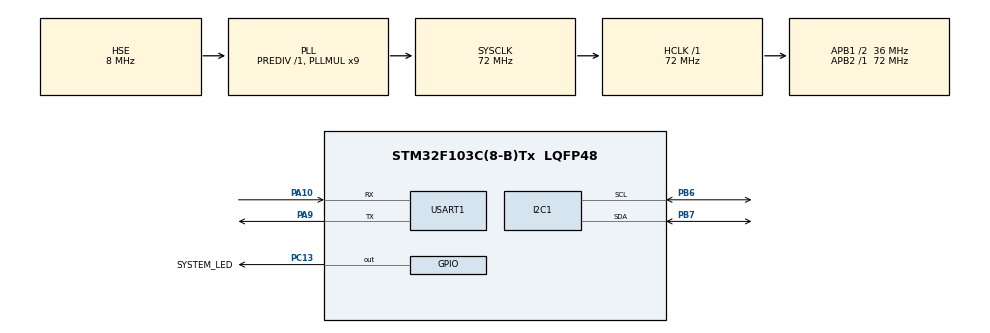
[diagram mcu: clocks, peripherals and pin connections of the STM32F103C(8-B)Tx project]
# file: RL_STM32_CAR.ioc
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Mcu.Family=STM32F1
Mcu.Name=STM32F103C(8-B)Tx
Mcu.Package=LQFP48
NVIC.PriorityGroup=NVIC_PRIORITYGROUP_4
NVIC.TIM2_IRQn=true\:0\:0\:false\:false\:true\:true\:true\:true
NVIC.USART1_IRQn=true\:0\:0\:false\:false\:true\:true\:true\:true
PA10.Mode=Asynchronous
PA10.Signal=USART1_RX
PA13.Mode=Serial_Wire
PA13.Signal=SYS_JTMS-SWDIO
PA14.Mode=Serial_Wire
PA14.Signal=SYS_JTCK-SWCLK
PA9.Mode=Asynchronous
PA9.Signal=USART1_TX
PB6.Mode=I2C
PB6.Signal=I2C1_SCL
PB7.Mode=I2C
PB7.Signal=I2C1_SDA
PC13-TAMPER-RTC.GPIO_Label=SYSTEM_LED
PC13-TAMPER-RTC.Signal=GPIO_Output
PD0-OSC_IN.Mode=HSE-External-Oscillator
PD0-OSC_IN.Signal=RCC_OSC_IN
PD1-OSC_OUT.Mode=HSE-External-Oscillator
PD1-OSC_OUT.Signal=RCC_OSC_OUT
ProjectManager.HeapSize=0x200
ProjectManager.StackSize=0x400
ProjectManager.TargetToolchain=STM32CubeIDE
RCC.AHBFreq_Value=72000000
RCC.APB1CLKDivider=RCC_HCLK_DIV2
RCC.APB1Freq_Value=36000000
RCC.APB1TimFreq_Value=72000000
RCC.APB2Freq_Value=72000000
RCC.APB2TimFreq_Value=72000000
RCC.HCLKFreq_Value=72000000
RCC.PLLMUL=RCC_PLL_MUL9
RCC.PLLSourceVirtual=RCC_PLLSOURCE_HSE
RCC.SYSCLKFreq_VALUE=72000000
RCC.SYSCLKSource=RCC_SYSCLKSOURCE_PLLCLK
RCC.USBFreq_Value=72000000
TIM2.Period=999
TIM2.Prescaler=71
USART1.VirtualMode=VM_ASYNC
VP_TIM2_VS_ClockSourceINT.Mode=Internal
board=custom

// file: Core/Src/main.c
/* USER CODE BEGIN Header */
/**
  ******************************************************************************
  * @file           : main.c
  * @brief          : Main program body
  ******************************************************************************
  * @attention
  *
  * Copyright (c) 2025 STMicroelectronics.
  * All rights reserved.
  *
  * This software is licensed under terms that can be found in the LICENSE file
  * in the root directory of this software component.
  * If no LICENSE file comes with this software, it is provided AS-IS.
  *
  ******************************************************************************
  */
/* USER CODE END Header */
#include "main.h"
#include "i2c.h"
#include "tim.h"
#include "usart.h"
#include "gpio.h"

/* USER CODE BEGIN Includes */
#include <stdio.h>
#include <string.h>
#include "Timer.h"
/* USER CODE END Includes */

/* USER CODE BEGIN PV */
// LCD Configuration - Found working address
#define LCD_I2C_ADDR 0x27

// Car Damage Detection System
extern timer_Objt Tim_1ms[MaxTIMER];
uint8_t lcd_initialized = 0;
uint32_t last_analysis_time = 0;
uint32_t analysis_interval = 15000; // Analysis every 15 seconds (slower)
uint8_t uart_rx_buffer[256];
uint8_t uart_rx_index = 0;
uint8_t uart_message_ready = 0;

// Damage detection results
typedef struct {
    char damage_type[32];
    float confidence;
    uint8_t severity;
    uint32_t timestamp;
    uint8_t valid;
} DamageResult_t;

DamageResult_t current_damage;
DamageResult_t last_valid_damage; // Keep last valid result for display
DamageResult_t last_damage_detected; // Keep last actual damage (not no_damage)
uint8_t system_status = 0; // 0=init, 1=ready, 2=analyzing, 3=error
uint32_t test_counter = 0; // Counter for test cycles display
uint8_t should_show_analyzing = 0; // Only show analyzing when actually requesting

// Damage detection optimization
uint32_t last_damage_timestamp = 0; // When was last damage detected
uint32_t damage_display_duration = 30000; // Show damage for 30 seconds
float min_confidence_threshold = 35.0; // Minimum confidence for damage detection
uint8_t consecutive_no_damage = 0; // Count consecutive no_damage results
uint8_t no_damage_threshold = 5; // Need 5 consecutive no_damage to override
/* USER CODE END PV */

void SystemClock_Config(void);
/* USER CODE BEGIN PFP */
// LCD Functions
void LCD_Send_Nibble(uint8_t nibble, uint8_t rs);
void LCD_Send_Byte(uint8_t byte, uint8_t rs);
void LCD_Init(void);
void LCD_Clear(void);
void LCD_SetCursor(uint8_t col, uint8_t row);
void LCD_Print(char* str);

// Car Damage Detection Functions
void CarDamage_Init(void);
void CarDamage_RequestAnalysis(void);
void CarDamage_ProcessUARTData(void);
void CarDamage_ParseResponse(char* json_response);
void CarDamage_DisplayResults(void);
void CarDamage_DisplayStatus(void);
void CarDamage_SendESP32Command(char* command);
void HAL_UART_RxCpltCallback(UART_HandleTypeDef *huart);
/* USER CODE END PFP */

int main(void)
{

  /* MCU Configuration--------------------------------------------------------*/

  /* Reset of all peripherals, Initializes the Flash interface and the Systick. */
  HAL_Init();

  /* Configure the system clock */
  SystemClock_Config();

  /* Initialize all configured peripherals */
  MX_GPIO_Init();
  MX_I2C1_Init();
  MX_TIM2_Init();
  MX_USART1_UART_Init();
  /* USER CODE BEGIN 2 */

  // Initialize timer system
  HAL_TIM_Base_Start_IT(&htim2);
  startTim(&Tim_1ms[0], 1000);

  // Power-on signal - 1 long blink
  HAL_GPIO_WritePin(SYSTEM_LED_GPIO_Port, SYSTEM_LED_Pin, GPIO_PIN_SET);
  HAL_Delay(1000);
  HAL_GPIO_WritePin(SYSTEM_LED_GPIO_Port, SYSTEM_LED_Pin, GPIO_PIN_RESET);
  HAL_Delay(500);

  // Wait for LCD power stabilization
  HAL_Delay(1000);

  // Initialize LCD with known working address
  if (HAL_I2C_IsDeviceReady(&hi2c1, LCD_I2C_ADDR << 1, 3, 1000) == HAL_OK) {
    LCD_Init();
    lcd_initialized = 1;

    // Success - 3 quick blinks
    for(int i = 0; i < 3; i++) {
      HAL_GPIO_WritePin(SYSTEM_LED_GPIO_Port, SYSTEM_LED_Pin, GPIO_PIN_SET);
      HAL_Delay(200);
      HAL_GPIO_WritePin(SYSTEM_LED_GPIO_Port, SYSTEM_LED_Pin, GPIO_PIN_RESET);
      HAL_Delay(200);
    }

    // Initialize Car Damage Detection System
    CarDamage_Init();

    // Start UART receive interrupt
    HAL_UART_Receive_IT(&huart1, &uart_rx_buffer[0], 1);

  } else {
    // Failed - 5 fast blinks
    for(int i = 0; i < 5; i++) {
      HAL_GPIO_WritePin(SYSTEM_LED_GPIO_Port, SYSTEM_LED_Pin, GPIO_PIN_SET);
      HAL_Delay(100);
      HAL_GPIO_WritePin(SYSTEM_LED_GPIO_Port, SYSTEM_LED_Pin, GPIO_PIN_RESET);
      HAL_Delay(100);
    }
    lcd_initialized = 0;
    system_status = 3; // Error
  }

  last_analysis_time = HAL_GetTick();
  /* USER CODE END 2 */

  /* Infinite loop */
  /* USER CODE BEGIN WHILE */
  while (1)
  {
    uint32_t current_time = HAL_GetTick();
    static uint32_t led_timer = 0;

    // Handle timer system
    scanTimer();

    if (lcd_initialized) {
      // Process UART data from ESP32
      CarDamage_ProcessUARTData();

      // LED patterns based on system status
      uint32_t blink_interval = 1000; // Default
      switch(system_status) {
        case 0: blink_interval = 500; break;  // Init - fast blink
        case 1: blink_interval = 2000; break; // Ready - slow blink
        case 2: blink_interval = 250; break;  // Analyzing - very fast
        case 3: blink_interval = 100; break;  // Error - ultra fast
      }

      if ((current_time - led_timer) >= blink_interval) {
        led_timer = current_time;
        HAL_GPIO_TogglePin(SYSTEM_LED_GPIO_Port, SYSTEM_LED_Pin);
      }

      // Smart analysis interval - analyze more frequently if no damage found
      uint32_t dynamic_interval = analysis_interval;
      uint32_t time_since_damage = HAL_GetTick() - last_damage_timestamp;

      if (last_damage_timestamp == 0 || time_since_damage > damage_display_duration) {
        // No recent damage - analyze more frequently
        dynamic_interval = 8000; // Every 8 seconds
      } else {
        // Recent damage found - analyze less frequently to avoid false negatives
        dynamic_interval = 20000; // Every 20 seconds
      }

      // Request analysis every interval (only if not analyzing)
      if ((current_time - last_analysis_time) >= dynamic_interval && system_status == 1) {
        last_analysis_time = current_time;
        CarDamage_RequestAnalysis();
      }

      // Timeout protection for analyzing state - shorter timeout, no error display
      if (system_status == 2 && (current_time - last_analysis_time) > 3000) {
        // Timeout after 3 seconds, go back to ready without showing error
        system_status = 1;
        should_show_analyzing = 0;
        // Don't show timeout error, just continue with last valid result
      }

      // Update display every 1 second or when new data arrives
      static uint32_t display_timer = 0;
      static uint32_t last_damage_timestamp = 0;
      static uint32_t analyzing_start_time = 0;

      // Track when analyzing started
      if (system_status == 2 && should_show_analyzing && analyzing_start_time == 0) {
        analyzing_start_time = current_time;
      } else if (system_status != 2) {
        analyzing_start_time = 0;
      }

      if ((current_time - display_timer) >= 1000 ||
          (current_damage.valid && current_damage.timestamp != last_damage_timestamp)) {
        display_timer = current_time;
        last_damage_timestamp = current_damage.timestamp;

        // Priority order for display:
        // 1. Show analyzing only for first 2 seconds and if should_show_analyzing is true
        // 2. Show current valid result
        // 3. Show last valid result
        // 4. Show status only if no results available

        if (system_status == 2 && should_show_analyzing &&
            analyzing_start_time > 0 && (current_time - analyzing_start_time) < 2000) {
          // Show analyzing for only 2 seconds
          // Already displayed in CarDamage_RequestAnalysis, do nothing
        } else {
          // Smart display logic - prioritize damage results
          uint32_t time_since_damage = HAL_GetTick() - last_damage_timestamp;

          if (last_damage_detected.valid && time_since_damage <= damage_display_duration) {
            // Show last detected damage if within time window
            memcpy(&current_damage, &last_damage_detected, sizeof(DamageResult_t));
            CarDamage_DisplayResults();
          } else if (last_valid_damage.valid) {
            // Show last valid result (could be no_damage)
            memcpy(&current_damage, &last_valid_damage, sizeof(DamageResult_t));
            CarDamage_DisplayResults();
          } else {
            CarDamage_DisplayStatus();
          }
        }
      }

    } else {
      // LCD not working - error blink and retry
      if ((current_time - led_timer) >= 200) {
        led_timer = current_time;
        HAL_GPIO_TogglePin(SYSTEM_LED_GPIO_Port, SYSTEM_LED_Pin);
      }

      // Retry LCD every 5 seconds
      if ((current_time - last_analysis_time) >= 5000) {
        last_analysis_time = current_time;
        if (HAL_I2C_IsDeviceReady(&hi2c1, LCD_I2C_ADDR << 1, 3, 1000) == HAL_OK) {
          LCD_Init();
          CarDamage_Init();
          lcd_initialized = 1;
        }
      }
    }
    /* USER CODE END WHILE */

  }
}

void SystemClock_Config(void)
{
  RCC_OscInitTypeDef RCC_OscInitStruct = {0};
  RCC_ClkInitTypeDef RCC_ClkInitStruct = {0};

  /** Initializes the RCC Oscillators according to the specified parameters
  * in the RCC_OscInitTypeDef structure.
  */
  RCC_OscInitStruct.OscillatorType = RCC_OSCILLATORTYPE_HSE;
  RCC_OscInitStruct.HSEState = RCC_HSE_ON;
  RCC_OscInitStruct.HSEPredivValue = RCC_HSE_PREDIV_DIV1;
  RCC_OscInitStruct.HSIState = RCC_HSI_ON;
  RCC_OscInitStruct.PLL.PLLState = RCC_PLL_ON;
  RCC_OscInitStruct.PLL.PLLSource = RCC_PLLSOURCE_HSE;
  RCC_OscInitStruct.PLL.PLLMUL = RCC_PLL_MUL9;
  if (HAL_RCC_OscConfig(&RCC_OscInitStruct) != HAL_OK)
  {
    Error_Handler();
  }

  /** Initializes the CPU, AHB and APB buses clocks
  */
  RCC_ClkInitStruct.ClockType = RCC_CLOCKTYPE_HCLK|RCC_CLOCKTYPE_SYSCLK
                              |RCC_CLOCKTYPE_PCLK1|RCC_CLOCKTYPE_PCLK2;
  RCC_ClkInitStruct.SYSCLKSource = RCC_SYSCLKSOURCE_PLLCLK;
  RCC_ClkInitStruct.AHBCLKDivider = RCC_SYSCLK_DIV1;
  RCC_ClkInitStruct.APB1CLKDivider = RCC_HCLK_DIV2;
  RCC_ClkInitStruct.APB2CLKDivider = RCC_HCLK_DIV1;

  if (HAL_RCC_ClockConfig(&RCC_ClkInitStruct, FLASH_LATENCY_2) != HAL_OK)
  {
    Error_Handler();
  }
}

/* USER CODE BEGIN 4 */

/**
 * @brief Send nibble to LCD via PCF8574 (optimized for 0x27)
 * @param nibble: 4-bit data
 * @param rs: Register select (0=command, 1=data)
 */
void LCD_Send_Nibble(uint8_t nibble, uint8_t rs) {
  uint8_t data = nibble & 0xF0;
  if (rs) data |= 0x01;  // RS bit
  data |= 0x08;          // Backlight bit

  // Send with E high
  HAL_I2C_Master_Transmit(&hi2c1, LCD_I2C_ADDR << 1, &data, 1, 100);
  data |= 0x04;  // E high
  HAL_I2C_Master_Transmit(&hi2c1, LCD_I2C_ADDR << 1, &data, 1, 100);
  HAL_Delay(1);

  // Send with E low
  data &= ~0x04; // E low
  HAL_I2C_Master_Transmit(&hi2c1, LCD_I2C_ADDR << 1, &data, 1, 100);
  HAL_Delay(1);
}

/**
 * @brief Send byte to LCD
 * @param byte: 8-bit data
 * @param rs: Register select (0=command, 1=data)
 */
void LCD_Send_Byte(uint8_t byte, uint8_t rs) {
  LCD_Send_Nibble(byte & 0xF0, rs);      // Upper nibble
  LCD_Send_Nibble((byte << 4) & 0xF0, rs); // Lower nibble
}

/**
 * @brief Initialize LCD
 */
void LCD_Init(void) {
  HAL_Delay(50);

  // 8-bit mode initialization sequence
  LCD_Send_Nibble(0x30, 0);
  HAL_Delay(5);
  LCD_Send_Nibble(0x30, 0);
  HAL_Delay(1);
  LCD_Send_Nibble(0x30, 0);
  HAL_Delay(1);

  // Switch to 4-bit mode
  LCD_Send_Nibble(0x20, 0);
  HAL_Delay(1);

  // Function set: 4-bit, 2 lines, 5x8 dots
  LCD_Send_Byte(0x28, 0);
  HAL_Delay(1);

  // Display control: display on, cursor off, blink off
  LCD_Send_Byte(0x0C, 0);
  HAL_Delay(1);

  // Clear display
  LCD_Send_Byte(0x01, 0);
  HAL_Delay(2);

  // Entry mode: increment, no shift
  LCD_Send_Byte(0x06, 0);
  HAL_Delay(1);
}

/**
 * @brief Clear LCD display
 */
void LCD_Clear(void) {
  LCD_Send_Byte(0x01, 0);
  HAL_Delay(2);
}

/**
 * @brief Set cursor position
 * @param col: Column (0-15)
 * @param row: Row (0-1)
 */
void LCD_SetCursor(uint8_t col, uint8_t row) {
  uint8_t address = (row == 0) ? 0x80 : 0xC0;
  address += col;
  LCD_Send_Byte(address, 0);
  HAL_Delay(1);
}

/**
 * @brief Print string to LCD
 * @param str: String to print
 */
void LCD_Print(char* str) {
  while (*str) {
    LCD_Send_Byte(*str++, 1);
    HAL_Delay(1);
  }
}

/**
 * @brief Test basic LCD functions
 */
void LCD_Test_Basic(void) {
  LCD_Clear();
  LCD_SetCursor(0, 0);
  LCD_Print("** BASIC TEST **");
  HAL_Delay(1500);

  LCD_Clear();
  LCD_SetCursor(0, 0);
  LCD_Print("Hello World!");
  LCD_SetCursor(0, 1);
  LCD_Print("LCD1602 Works!");
  HAL_Delay(3000);

  // Counter test
  for (int i = 0; i < 10; i++) {
    LCD_Clear();
    LCD_SetCursor(0, 0);
    LCD_Print("Counter Test:");
    LCD_SetCursor(0, 1);
    char num_str[16];
    sprintf(num_str, "Count: %d", i);
    LCD_Print(num_str);
    HAL_Delay(500);
  }
}

/**
 * @brief Test character display
 */
void LCD_Test_Characters(void) {
  LCD_Clear();
  LCD_SetCursor(0, 0);
  LCD_Print("CHARACTER TEST");
  HAL_Delay(1500);

  // Numbers and letters
  LCD_Clear();
  LCD_SetCursor(0, 0);
  LCD_Print("0123456789ABCDEF");
  LCD_SetCursor(0, 1);
  LCD_Print("!@#$%^&*()_+-=<>");
  HAL_Delay(3000);

  // ASCII characters
  LCD_Clear();
  LCD_SetCursor(0, 0);
  LCD_Print("ASCII: ");
  for (char c = 65; c <= 90; c++) {
    if (c > 65) {
      LCD_SetCursor((c-65) % 16, (c-65) / 16);
    } else {
      LCD_SetCursor(7, 0);
    }
    char temp[2] = {c, '\0'};
    LCD_Print(temp);
    HAL_Delay(200);
  }
  HAL_Delay(1000);
}

/**
 * @brief Test backlight control
 */
void LCD_Test_Backlight(void) {
  LCD_Clear();
  LCD_SetCursor(0, 0);
  LCD_Print("BACKLIGHT TEST");
  LCD_SetCursor(0, 1);
  LCD_Print("Watch the light!");
  HAL_Delay(2000);

  // Toggle backlight
  for (int i = 0; i < 5; i++) {
    // Turn backlight off
    uint8_t data = 0x00; // No backlight
    HAL_I2C_Master_Transmit(&hi2c1, LCD_I2C_ADDR << 1, &data, 1, 100);
    HAL_Delay(800);

    // Turn backlight on
    data = 0x08; // Backlight on
    HAL_I2C_Master_Transmit(&hi2c1, LCD_I2C_ADDR << 1, &data, 1, 100);
    HAL_Delay(800);
  }
}

/**
 * @brief Test scrolling text
 */
void LCD_Test_Scrolling(void) {
  LCD_Clear();
  LCD_SetCursor(0, 0);
  LCD_Print("SCROLL TEST");
  HAL_Delay(1500);

  char *scroll_text = "    This is a long scrolling text message for LCD1602 display testing!    ";
  int text_len = strlen(scroll_text);

  for (int pos = 0; pos < text_len - 16; pos++) {
    LCD_Clear();
    LCD_SetCursor(0, 0);
    LCD_Print("SCROLLING:...");
    LCD_SetCursor(0, 1);

    // Print 16 characters starting from pos
    for (int i = 0; i < 16 && (pos + i) < text_len; i++) {
      char temp[2] = {scroll_text[pos + i], '\0'};
      LCD_Print(temp);
    }
    HAL_Delay(300);
  }
}

/**
 * @brief Display system information
 */
void LCD_Display_System_Info(void) {
  LCD_Clear();
  LCD_SetCursor(0, 0);
  LCD_Print("SYSTEM INFO");
  HAL_Delay(1500);

  // Display uptime
  LCD_Clear();
  LCD_SetCursor(0, 0);
  LCD_Print("Uptime:");
  LCD_SetCursor(0, 1);
  uint32_t uptime_sec = HAL_GetTick() / 1000;
  char uptime_str[16];
  sprintf(uptime_str, "%lu seconds", uptime_sec);
  LCD_Print(uptime_str);
  HAL_Delay(2000);

  // Display test cycles
  LCD_Clear();
  LCD_SetCursor(0, 0);
  LCD_Print("Test Cycles:");
  LCD_SetCursor(0, 1);
  char cycles_str[16];
  sprintf(cycles_str, "Cycle: %lu", ++test_counter);
  LCD_Print(cycles_str);
  HAL_Delay(2000);

  // Display I2C status
  LCD_Clear();
  LCD_SetCursor(0, 0);
  LCD_Print("I2C Status: OK");
  LCD_SetCursor(0, 1);
  LCD_Print("Addr: 0x27 ✓");
  HAL_Delay(2000);
}

// Car Damage Detection System Functions
void CarDamage_Init(void) {
    // Initialize car damage detection system
    memset(&current_damage, 0, sizeof(DamageResult_t));
    memset(&last_valid_damage, 0, sizeof(DamageResult_t));
    memset(&last_damage_detected, 0, sizeof(DamageResult_t));

    // Set default values for last_valid_damage
    strcpy(last_valid_damage.damage_type, "SYSTEM READY");
    last_valid_damage.confidence = 100.0;
    last_valid_damage.severity = 0;
    last_valid_damage.valid = 1;
    last_valid_damage.timestamp = HAL_GetTick();

    // Initialize damage detection optimization
    last_damage_timestamp = 0;
    consecutive_no_damage = 0;

    memset(uart_rx_buffer, 0, sizeof(uart_rx_buffer));
    uart_rx_index = 0;
    uart_message_ready = 0;
    system_status = 0;
    should_show_analyzing = 0;

    LCD_Clear();
    LCD_SetCursor(0, 0);
    LCD_Print("  CAR DAMAGE AI ");
    LCD_SetCursor(0, 1);
    LCD_Print(" INITIALIZING...");
    HAL_Delay(2000);

    // Send request to ESP32 to get latest result
    CarDamage_SendESP32Command("GET_RESULT");
    HAL_Delay(500);

    system_status = 1; // Ready state

    // Display ready status
    LCD_Clear();
    LCD_SetCursor(0, 0);
    LCD_Print("  SYSTEM READY  ");
    LCD_SetCursor(0, 1);
    LCD_Print("  WAITING DATA  ");
}

void CarDamage_RequestAnalysis(void) {
    if (system_status == 1) { // Only if system is ready
        system_status = 2; // Analyzing state
        should_show_analyzing = 1; // Flag to show analyzing

        // Only show analyzing for 2 seconds, then keep old result
        LCD_Clear();
        LCD_SetCursor(0, 0);
        LCD_Print("   ANALYZING    ");
        LCD_SetCursor(0, 1);
        LCD_Print(" PLEASE WAIT... ");

        // Request latest result from ESP32
        CarDamage_SendESP32Command("GET_RESULT");
        last_analysis_time = HAL_GetTick();
    }
}

void CarDamage_ProcessUARTData(void) {
    if (uart_message_ready) {
        uart_message_ready = 0;

        // Process received JSON data
        if (strstr((char*)uart_rx_buffer, "{") != NULL) {
            CarDamage_ParseResponse((char*)uart_rx_buffer);

            // Smart damage detection logic
            if (current_damage.valid) {
                // Check if this is actual damage detection (not no_damage)
                if (strstr(current_damage.damage_type, "NO DAMAGE") == NULL &&
                    strstr(current_damage.damage_type, "SYSTEM READY") == NULL &&
                    current_damage.confidence >= min_confidence_threshold) {

                    // This is actual damage with good confidence
                    memcpy(&last_damage_detected, &current_damage, sizeof(DamageResult_t));
                    last_damage_timestamp = HAL_GetTick();
                    consecutive_no_damage = 0; // Reset no damage counter

                    // Update display immediately with damage
                    memcpy(&last_valid_damage, &current_damage, sizeof(DamageResult_t));

                } else if (strstr(current_damage.damage_type, "NO DAMAGE") != NULL) {
                    // This is no damage result
                    consecutive_no_damage++;

                    // Only override damage display if:
                    // 1. We have many consecutive no_damage results AND
                    // 2. Last damage was detected long ago (>30 seconds)
                    uint32_t time_since_damage = HAL_GetTick() - last_damage_timestamp;

                    if (consecutive_no_damage >= no_damage_threshold &&
                        time_since_damage > damage_display_duration) {
                        // Override with no damage after threshold
                        memcpy(&last_valid_damage, &current_damage, sizeof(DamageResult_t));
                    }
                    // Otherwise keep showing the last detected damage

                } else {
                    // Other status messages
                    memcpy(&last_valid_damage, &current_damage, sizeof(DamageResult_t));
                }
            }

            system_status = 1; // Back to ready state
            should_show_analyzing = 0; // Stop showing analyzing

        } else if (strstr((char*)uart_rx_buffer, "SYSTEM_READY") ||
                   strstr((char*)uart_rx_buffer, "WIFI_CONNECTED") ||
                   strstr((char*)uart_rx_buffer, "CAMERA_READY")) {
            // Handle non-JSON status messages
            CarDamage_ParseResponse((char*)uart_rx_buffer);

            if (current_damage.valid) {
                memcpy(&last_valid_damage, &current_damage, sizeof(DamageResult_t));
            }

            system_status = 1; // Back to ready state
            should_show_analyzing = 0; // Stop showing analyzing
        }

        // Clear buffer and reset index
        memset(uart_rx_buffer, 0, sizeof(uart_rx_buffer));
        uart_rx_index = 0;

        // Restart UART interrupt for next message
        HAL_UART_Receive_IT(&huart1, &uart_rx_buffer[0], 1);
    }
}

void CarDamage_ParseResponse(char* json_response) {
    // Initialize default values
    memset(&current_damage, 0, sizeof(DamageResult_t));
    current_damage.valid = 0;

    // Check if it's a JSON response
    if (strstr(json_response, "{") == NULL) {
        // Not JSON, treat as simple status message
        if (strstr(json_response, "SYSTEM_READY") ||
            strstr(json_response, "WIFI_CONNECTED") ||
            strstr(json_response, "CAMERA_READY")) {
            strcpy(current_damage.damage_type, "SYSTEM READY");
            current_damage.confidence = 100.0;
            current_damage.severity = 0;
            current_damage.valid = 1;
        }
        return;
    }

    // Parse JSON response
    char* status_ptr = strstr(json_response, "\"status\"");
    char* damage_type_ptr = strstr(json_response, "\"damage_type\"");
    char* confidence_ptr = strstr(json_response, "\"confidence\"");
    char* severity_ptr = strstr(json_response, "\"severity\"");

    // Check if analysis was successful - handle new format
    if (status_ptr && (strstr(status_ptr, "damage_detected") || strstr(status_ptr, "no_damage") || strstr(status_ptr, "no_data"))) {
        current_damage.valid = 1;

        // Extract damage type
        if (damage_type_ptr) {
            char* start = strstr(damage_type_ptr, ":\"");
            if (start) {
                start += 2; // Skip :"
                char* end = strstr(start, "\"");
                if (end && (end - start) < sizeof(current_damage.damage_type) - 1) {
                    strncpy(current_damage.damage_type, start, end - start);
                    current_damage.damage_type[end - start] = '\0';
                }
            }
        }

        // Extract confidence (handle decimal format)
        if (confidence_ptr) {
            char* start = strstr(confidence_ptr, ":");
            if (start) {
                start += 1;
                // Skip whitespace and find the number
                while (*start == ' ' || *start == '\t') start++;
                float conf = atof(start);

                // Convert to percentage if needed (0.485 -> 48.5%)
                if (conf > 0.0) {
                    current_damage.confidence = (conf < 1.0) ? conf * 100.0 : conf;
                    // Ensure reasonable range
                    if (current_damage.confidence > 100.0) {
                        current_damage.confidence = 100.0;
                    }
                } else {
                    current_damage.confidence = 50.0; // Default if parsing failed
                }
            }
        }

        // Extract severity
        if (severity_ptr) {
            char* start = strstr(severity_ptr, ":");
            if (start) {
                start += 1;
                current_damage.severity = (uint8_t)atoi(start);
            }
        }

        // Set default values if not found
        if (strlen(current_damage.damage_type) == 0) {
            strcpy(current_damage.damage_type, "NO DAMAGE");
        }
        if (current_damage.confidence <= 0.0 || current_damage.confidence > 100.0) {
            current_damage.confidence = 95.0; // Default confidence
        }

        current_damage.timestamp = HAL_GetTick();

    } else {
        // Error or unknown response
        strcpy(current_damage.damage_type, "COMM ERROR");
        current_damage.confidence = 0.0;
        current_damage.severity = 0;
        current_damage.valid = 0;
    }
}

void CarDamage_DisplayResults(void) {
    if (current_damage.valid) {
        LCD_Clear();

        // Line 1: Damage Type (16 characters max)
        LCD_SetCursor(0, 0);
        char line1[17] = {0};

        // Format damage type for display (uppercase, replace underscores)
        char formatted_type[32];
        strcpy(formatted_type, current_damage.damage_type);

        // Convert to uppercase and replace underscores with spaces
        for (int i = 0; formatted_type[i]; i++) {
            if (formatted_type[i] == '_') formatted_type[i] = ' ';
            if (formatted_type[i] >= 'a' && formatted_type[i] <= 'z') {
                formatted_type[i] = formatted_type[i] - 32; // Convert to uppercase
            }
        }

        // Truncate if too long
        if (strlen(formatted_type) > 16) {
            strncpy(line1, formatted_type, 13);
            strcat(line1, "...");
        } else {
            // Center the text if shorter
            int padding = (16 - strlen(formatted_type)) / 2;
            for (int i = 0; i < padding; i++) line1[i] = ' ';
            strcpy(line1 + padding, formatted_type);
        }
        LCD_Print(line1);

        // Line 2: Confidence (and severity if damage detected)
        LCD_SetCursor(0, 1);
        char line2[17] = {0};

        // Ensure confidence has a valid value
        float display_confidence = current_damage.confidence;
        if (display_confidence <= 0.0) {
            display_confidence = 95.0; // Default fallback
        }

        if (strstr(formatted_type, "NO DAMAGE") || strstr(formatted_type, "SYSTEM READY")) {
            // No damage - show confidence and analysis count
            sprintf(line2, "CONF:%.0f%% N:%d", display_confidence, consecutive_no_damage);
        } else {
            // Damage detected - show confidence and time info
            uint32_t time_since_damage = HAL_GetTick() - last_damage_timestamp;
            uint32_t seconds_ago = time_since_damage / 1000;

            if (seconds_ago < 60) {
                sprintf(line2, "%.0f%% | %lus ago", display_confidence, seconds_ago);
            } else {
                sprintf(line2, "%.0f%% | %lum ago", display_confidence, seconds_ago / 60);
            }
        }

        // Ensure line2 is exactly 16 characters and pad if needed
        int len = strlen(line2);
        while (len < 16) {
            line2[len++] = ' ';
        }
        line2[16] = '\0';
        LCD_Print(line2);

    } else {
        // System error display
        LCD_Clear();
        LCD_SetCursor(0, 0);
        LCD_Print("  SYSTEM ERROR  ");
        LCD_SetCursor(0, 1);
        LCD_Print(" CHECK ESP32-CAM");
        system_status = 3; // Error state
    }
}

void CarDamage_DisplayStatus(void) {
    // Display system status on LCD
    LCD_Clear();
    LCD_SetCursor(0, 0);

    switch(system_status) {
        case 0:
            LCD_Print("INITIALIZING...");
            break;
        case 1:
            LCD_Print("SYSTEM READY");
            LCD_SetCursor(0, 1);
            uint32_t uptime = HAL_GetTick() / 1000;
            char uptime_str[17];
            sprintf(uptime_str, "Uptime: %lus", uptime);
            LCD_Print(uptime_str);
            break;
        case 2:
            LCD_Print("ANALYZING...");
            LCD_SetCursor(0, 1);
            LCD_Print("Please wait...");
            break;
        case 3:
            LCD_Print("SYSTEM ERROR");
            LCD_SetCursor(0, 1);
            LCD_Print("Check connections");
            break;
    }
}

void CarDamage_SendESP32Command(char* command) {
    // Send command to ESP32 via UART
    char cmd_buffer[64];
    sprintf(cmd_buffer, "%s\r\n", command);
    HAL_UART_Transmit(&huart1, (uint8_t*)cmd_buffer, strlen(cmd_buffer), 1000);
}

/**
 * @brief UART receive complete callback
 */
void HAL_UART_RxCpltCallback(UART_HandleTypeDef *huart) {
    if (huart->Instance == USART1) {
        // Single character received
        if (uart_rx_buffer[uart_rx_index] == '\n' || uart_rx_buffer[uart_rx_index] == '\r') {
            if (uart_rx_index > 0) {
                uart_rx_buffer[uart_rx_index] = '\0'; // Null terminate
                uart_message_ready = 1;
                // Don't increment index for next char, will be reset in processing
            } else {
                // Continue receiving next character at same position
                HAL_UART_Receive_IT(&huart1, &uart_rx_buffer[uart_rx_index], 1);
            }
        } else {
            uart_rx_index++;
            if (uart_rx_index >= sizeof(uart_rx_buffer) - 1) {
                uart_rx_index = 0; // Buffer overflow protection
            }
            // Continue receiving next character
            HAL_UART_Receive_IT(&huart1, &uart_rx_buffer[uart_rx_index], 1);
        }
    }
}

/* USER CODE END 4 */

void Error_Handler(void)
{
  __disable_irq();
  while (1)
  {
  }
}
